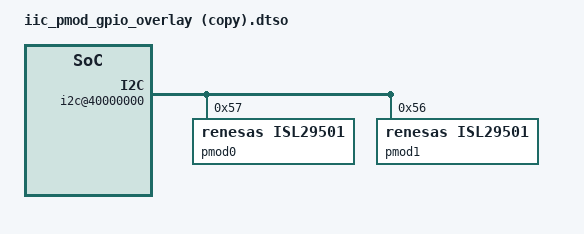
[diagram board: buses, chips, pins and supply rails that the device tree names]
/dts-v1/;
/plugin/;
/ {
	fragment@0 {
		target = <&amba>;
		// #address-cells = <1>;
		// #size-cells = <1>;

		__overlay__ {
			#address-cells = <1>;
			#size-cells = <1>;
			
			i2c@40000000 {
				compatible = "xlnx,xps-iic-2.00.a";
				interrupt-parent = <&intc>;
				interrupt-names = "iic2intc_irpt";
				interrupts = <0 29 4>;
				clock-names = "s_axi_aclk";
				clocks = <&clkc 15>;
				reg = <0x40000000 0x200>;
				#address-cells = <1>;
				#size-cells = <0>;

				pmod0@57 {
					compatible = "renesas,isl29501";
					reg = <0x57>;
				};
				
				pmod1@56 {
					compatible = "renesas,isl29501";
					reg = <0x56>;
				};
			};
			
			axi_gpio: gpio@40004000 {
        			#gpio-cells = <2>;
        			compatible = "xlnx,xps-gpio-1.00.a";
        			gpio-controller ;
        			reg = <0x40004000 0x200>;
			} ;
			
			axi_timer: timer@40002000 {
    				clock-frequency = <100000000>;
    				clocks = <&clkc 15>;
				clock-names = "s_axi_aclk";
    				compatible = "xlnx,xps-timer-1.00.a";
    				interrupt-parent = <&intc>;
    				interrupts = <0 30 4>;
    				reg = <0x40002000 0x200>;
    				xlnx,count-width = <0x10>;
    				xlnx,one-timer-only = <0x0>;
    				#pwm-cells = <2>;
			};
			
		};
	};
};
